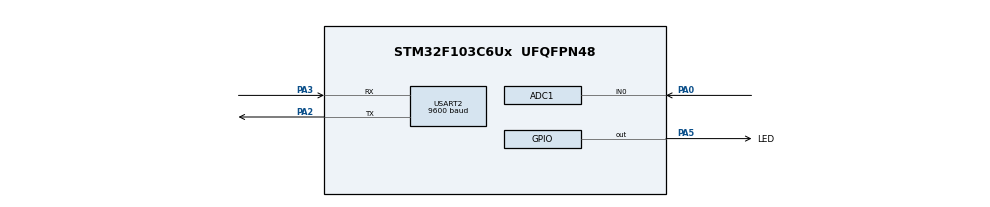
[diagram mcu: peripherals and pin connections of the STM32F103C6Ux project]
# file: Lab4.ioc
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ADC1.Channel-0\#ChannelRegularConversion=ADC_CHANNEL_0
ADC1.ContinuousConvMode=ENABLE
ADC1.NbrOfConversionFlag=1
ADC1.Rank-0\#ChannelRegularConversion=1
ADC1.SamplingTime-0\#ChannelRegularConversion=ADC_SAMPLETIME_1CYCLE_5
ADC1.master=1
Mcu.Family=STM32F1
Mcu.Name=STM32F103C6Ux
Mcu.Package=UFQFPN48
NVIC.PriorityGroup=NVIC_PRIORITYGROUP_4
NVIC.TIM2_IRQn=true\:0\:0\:false\:false\:true\:true\:true
NVIC.USART2_IRQn=true\:0\:0\:false\:false\:true\:true\:true
PA0-WKUP.Signal=ADCx_IN0
PA2.Mode=Asynchronous
PA2.Signal=USART2_TX
PA3.Mode=Asynchronous
PA3.Signal=USART2_RX
PA5.GPIO_Label=LED
PA5.Signal=GPIO_Output
ProjectManager.HeapSize=0x200
ProjectManager.StackSize=0x400
ProjectManager.TargetToolchain=STM32CubeIDE
RCC.APB1Freq_Value=8000000
RCC.APB2Freq_Value=8000000
SH.ADCx_IN0.0=ADC1_IN0,IN0
TIM2.Period=99
TIM2.Prescaler=799
USART2.BaudRate=9600
USART2.VirtualMode=VM_ASYNC
VP_SYS_VS_ND.Mode=No_Debug
VP_TIM2_VS_ClockSourceINT.Mode=Internal
board=custom

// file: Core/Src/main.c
/* USER CODE BEGIN Header */
/**
  ******************************************************************************
  * @file           : main.c
  * @brief          : Main program body
  ******************************************************************************
  * @attention
  *
  * <h2><center>&copy; Copyright (c) 2023 STMicroelectronics.
  * All rights reserved.</center></h2>
  *
  * This software component is licensed by ST under BSD 3-Clause license,
  * the "License"; You may not use this file except in compliance with the
  * License. You may obtain a copy of the License at:
  *                        opensource.org/licenses/BSD-3-Clause
  *
  ******************************************************************************
  */
/* USER CODE END Header */
#include "main.h"
#include "adc.h"
#include "tim.h"
#include "usart.h"
#include "gpio.h"

/* USER CODE BEGIN Includes */
#include "software_timer.h"
#include "uart.h"
#include "string.h"
/* USER CODE END Includes */

/* USER CODE BEGIN PTD */
uint8_t temp_start = 0;
/* USER CODE END PTD */

void SystemClock_Config(void);

int main(void)
{

  /* MCU Configuration--------------------------------------------------------*/

  /* Reset of all peripherals, Initializes the Flash interface and the Systick. */
  HAL_Init();

  /* Configure the system clock */
  SystemClock_Config();

  /* Initialize all configured peripherals */
  MX_GPIO_Init();
  MX_ADC1_Init();
  MX_USART2_UART_Init();
  MX_TIM2_Init();
  /* USER CODE BEGIN 2 */
  HAL_TIM_Base_Start_IT(&htim2);
  HAL_UART_Receive_IT(&huart2, &temp_start, 1);

  /* USER CODE END 2 */

  /* Infinite loop */
  /* USER CODE BEGIN WHILE */

  setTimer0(50);
  setTimer1(10);
//  uint8_t adc = 0;
//  uint8_t str[100];
  while (1)
  {
	  if(timer0_flag){
		  HAL_GPIO_TogglePin(LED_GPIO_Port, LED_Pin);
		  setTimer0(50);
	  }
	  if(buffer_flag == 1){
		  command_parser_fsm();
		  buffer_flag = 0;
	  }
	  uart_communiation_fsm();
    /* USER CODE END WHILE */

  }
}

void SystemClock_Config(void)
{
  RCC_OscInitTypeDef RCC_OscInitStruct = {0};
  RCC_ClkInitTypeDef RCC_ClkInitStruct = {0};
  RCC_PeriphCLKInitTypeDef PeriphClkInit = {0};

  /** Initializes the RCC Oscillators according to the specified parameters
  * in the RCC_OscInitTypeDef structure.
  */
  RCC_OscInitStruct.OscillatorType = RCC_OSCILLATORTYPE_HSI;
  RCC_OscInitStruct.HSIState = RCC_HSI_ON;
  RCC_OscInitStruct.HSICalibrationValue = RCC_HSICALIBRATION_DEFAULT;
  RCC_OscInitStruct.PLL.PLLState = RCC_PLL_NONE;
  if (HAL_RCC_OscConfig(&RCC_OscInitStruct) != HAL_OK)
  {
    Error_Handler();
  }
  /** Initializes the CPU, AHB and APB buses clocks
  */
  RCC_ClkInitStruct.ClockType = RCC_CLOCKTYPE_HCLK|RCC_CLOCKTYPE_SYSCLK
                              |RCC_CLOCKTYPE_PCLK1|RCC_CLOCKTYPE_PCLK2;
  RCC_ClkInitStruct.SYSCLKSource = RCC_SYSCLKSOURCE_HSI;
  RCC_ClkInitStruct.AHBCLKDivider = RCC_SYSCLK_DIV1;
  RCC_ClkInitStruct.APB1CLKDivider = RCC_HCLK_DIV1;
  RCC_ClkInitStruct.APB2CLKDivider = RCC_HCLK_DIV1;

  if (HAL_RCC_ClockConfig(&RCC_ClkInitStruct, FLASH_LATENCY_0) != HAL_OK)
  {
    Error_Handler();
  }
  PeriphClkInit.PeriphClockSelection = RCC_PERIPHCLK_ADC;
  PeriphClkInit.AdcClockSelection = RCC_ADCPCLK2_DIV2;
  if (HAL_RCCEx_PeriphCLKConfig(&PeriphClkInit) != HAL_OK)
  {
    Error_Handler();
  }
}

/* USER CODE BEGIN 4 */
void HAL_TIM_PeriodElapsedCallback(TIM_HandleTypeDef *htim){
	timerRun();
}
/* USER CODE END 4 */

void Error_Handler(void)
{
  __disable_irq();
  while (1)
  {
  }
}

/************************ (C) COPYRIGHT STMicroelectronics *****END OF FILE****/
